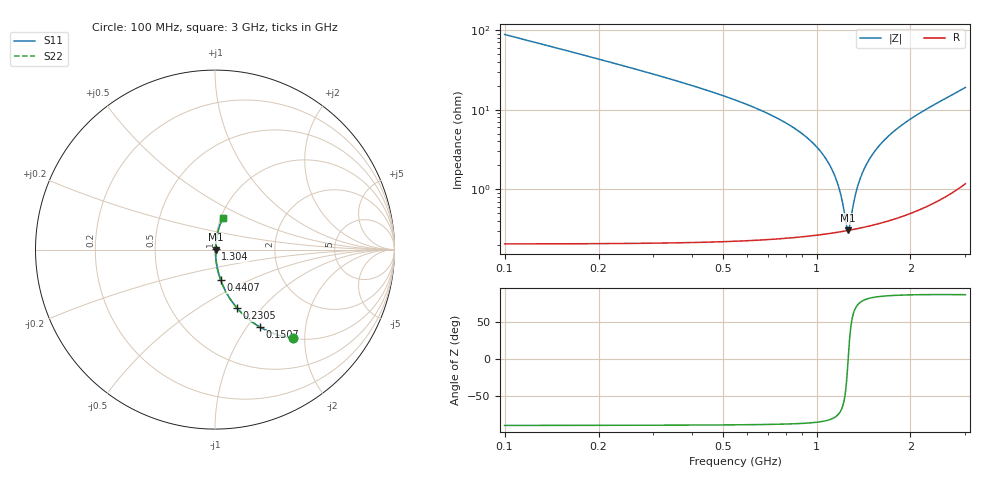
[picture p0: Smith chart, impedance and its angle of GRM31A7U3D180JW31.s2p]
!Murata Part Number: GRM31A7U3D180JW31
!These Parameters are Measured in Series Mode Connection
!Data Generated on Mar 30, 2021
!  o--ll--o
!Port1  Port2
!  o------o
!Operation Temp=25[degC], DC Bias Voltage=0[V]
!Freq. Start=100[MHz] Stop=3[GHz] 401[Steps]
# Hz S RI R 50
!Freq.(Hz) S11(Real) S11(Imag) S21(Real) S21(Imag) S12(Real) S12(Imag) S22(Real) S22(Imag)
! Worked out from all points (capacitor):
!   401 points, 100 MHz to 3 GHz, reference 50 ohm
!   read as one part in series: C = 18 pF near 114.5 MHz
!   lowest |Z| = 305 mohm at 1.26 GHz (marker M1)
!   series resonance near 1.263 GHz, so ESL is about 880 pH
!   S11 on the Smith chart (normalised r, x): 100 MHz: 1.00, -1.76; 150.8 MHz: 1.00, -1.16; 230.5 MHz: 1.00, -0.74; 440.8 MHz: 1.00, -0.35; 1.304 GHz: 1.01, +0.01; 3 GHz: 1.02, +0.38
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1e8  0.436 -0.4947  0.564 0.4947  0.564 0.4947  0.436 -0.4947
1.5075e8  0.2516 -0.4321  0.7484 0.4321  0.7484 0.4321  0.2516 -0.4321
2.305e8  0.1226 -0.3252  0.8774 0.3252  0.8774 0.3252  0.1226 -0.3252
4.4075e8  0.0324 -0.1711  0.9676 0.1711  0.9676 0.1711  0.0324 -0.1711
5.8575e8  0.0163 -0.1175  0.9837 0.1175  0.9837 0.1175  0.0163 -0.1175
8.9025e8  0.0051 -0.0508  0.9949 0.0508  0.9949 0.0508  0.0051 -0.0508
1.0715e9  0.0033 -0.0238  0.9967 0.0238  0.9967 0.0238  0.0033 -0.0238
1.1295e9  0.00308 -0.0162  0.9969 0.0162  0.9969 0.0162  0.00308 -0.0162
1.173e9  0.00299 -0.0107  0.997 0.0107  0.997 0.0107  0.00299 -0.0107
1.20925e9  0.00298 -0.00634  0.997 0.00634  0.997 0.00634  0.00298 -0.00634
1.2455e9  0.003 -0.00203  0.997 0.00203  0.997 0.00203  0.003 -0.00203
1.26e9  0.00302 -0.000343  0.997 0.000343  0.997 0.000343  0.00302 -0.000343
1.2745e9  0.00305 0.00133  0.997 -0.00133  0.997 -0.00133  0.00305 0.00133
1.3035e9  0.00312 0.00464  0.9969 -0.00464  0.9969 -0.00464  0.00312 0.00464
1.347e9  0.00327 0.0095  0.9967 -0.0095  0.9967 -0.0095  0.00327 0.0095
1.39775e9  0.0035 0.015  0.9965 -0.015  0.9965 -0.015  0.0035 0.015
1.463e9  0.00389 0.022  0.9961 -0.022  0.9961 -0.022  0.00389 0.022
1.55e9  0.00456 0.0309  0.9954 -0.0309  0.9954 -0.0309  0.00456 0.0309
1.753e9  0.00675 0.0511  0.9933 -0.0511  0.9933 -0.0511  0.00675 0.0511
2.03575e9  0.0113 0.0783  0.9887 -0.0783  0.9887 -0.0783  0.0113 0.0783
2.5215e9  0.0238 0.1261  0.9762 -0.1261  0.9762 -0.1261  0.0238 0.1261
3e9  0.045 0.1786  0.955 -0.1786  0.955 -0.1786  0.045 0.1786
